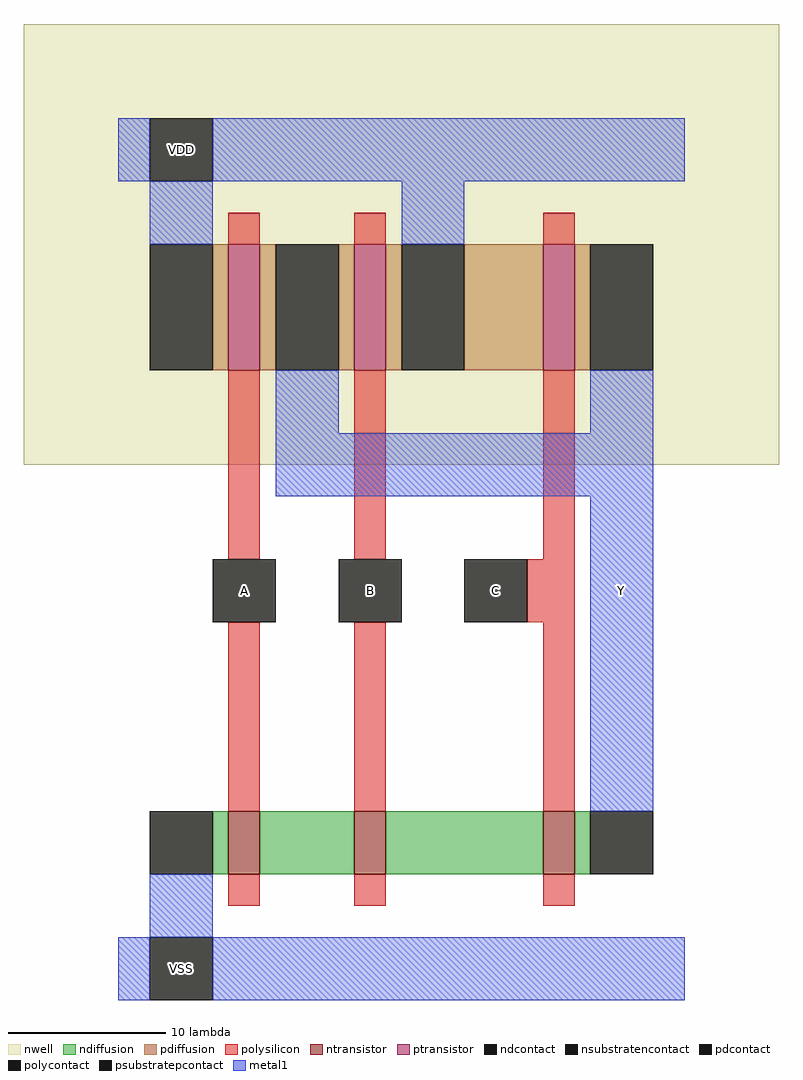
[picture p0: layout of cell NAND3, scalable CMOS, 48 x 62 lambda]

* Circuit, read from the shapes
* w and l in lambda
.subckt NAND3 A B C VDD VSS Y
M1 n1 A VSS VSS nfet w=4 l=2
M2 n2 B n1 VSS nfet w=4 l=2
M3 Y C n2 VSS nfet w=4 l=2
M4 Y A VDD VDD pfet w=8 l=2
M5 VDD B Y VDD pfet w=8 l=2
M6 Y C VDD VDD pfet w=8 l=2
.ends

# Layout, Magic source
magic
tech scmos
<< nwell >>
rect -6 34 42 62
<< ntransistor >>
rect 7 8 9 12
rect 15 8 17 12
rect 27 8 29 12
<< ptransistor >>
rect 7 40 9 48
rect 15 40 17 48
rect 27 40 29 48
<< ndiffusion >>
rect 6 8 7 12
rect 9 8 15 12
rect 17 8 27 12
rect 29 8 30 12
<< pdiffusion >>
rect 6 40 7 48
rect 9 40 10 48
rect 14 40 15 48
rect 17 40 18 48
rect 22 40 27 48
rect 29 40 30 48
<< ndcontact >>
rect 2 8 6 12
rect 30 8 34 12
<< pdcontact >>
rect 2 40 6 48
rect 10 40 14 48
rect 18 40 22 48
rect 30 40 34 48
<< psubstratepcontact >>
rect 2 0 6 4
<< nsubstratencontact >>
rect 2 52 6 56
<< polysilicon >>
rect 7 48 9 50
rect 15 48 17 50
rect 27 48 29 50
rect 7 28 9 40
rect 15 28 17 40
rect 27 28 29 40
rect 26 24 29 28
rect 7 12 9 24
rect 15 12 17 24
rect 27 12 29 24
rect 7 6 9 8
rect 15 6 17 8
rect 27 6 29 8
<< polycontact >>
rect 6 24 10 28
rect 14 24 18 28
rect 22 24 26 28
<< metal1 >>
rect 0 52 2 56
rect 6 52 36 56
rect 2 48 6 52
rect 18 48 22 52
rect 10 36 14 40
rect 30 36 34 40
rect 10 32 34 36
rect 30 12 34 32
rect 2 4 6 8
rect 0 0 2 4
rect 6 0 36 4
<< labels >>
rlabel psubstratepcontact 4 2 4 2 1 VSS
rlabel nsubstratencontact 4 54 4 54 1 VDD
rlabel polycontact 24 26 24 26 1 C
rlabel metal1 32 26 32 26 1 Y
rlabel polycontact 8 26 8 26 1 A
rlabel polycontact 16 26 16 26 1 B
<< end >>
